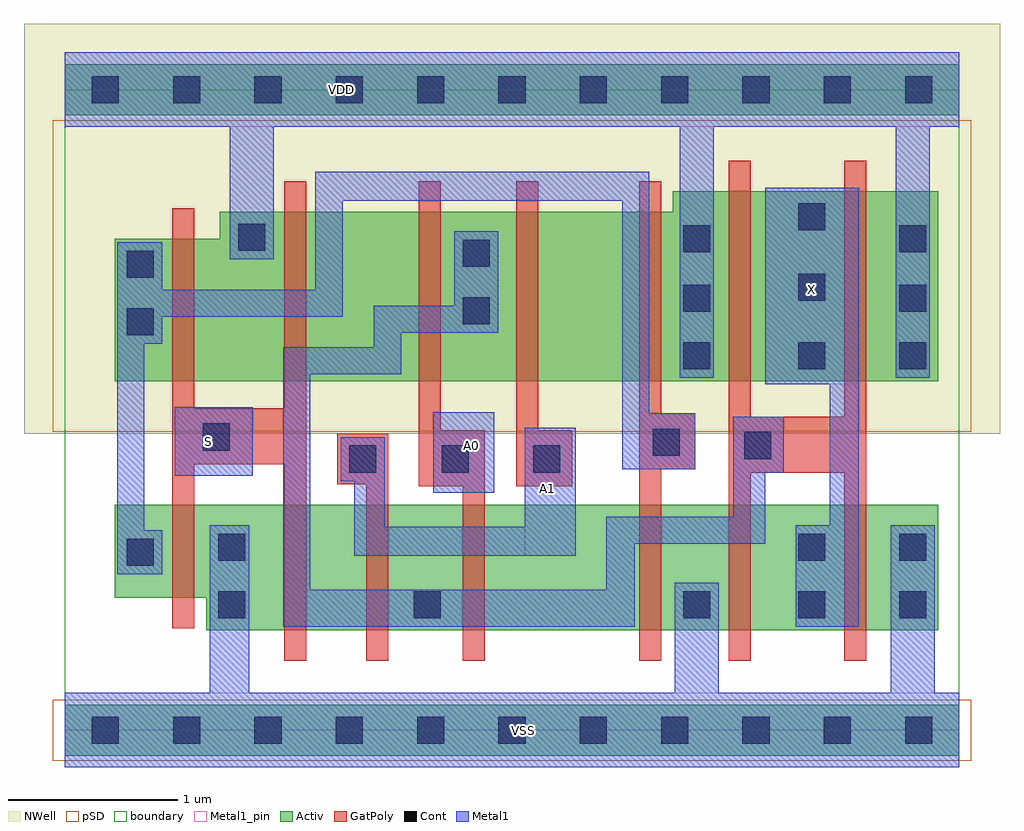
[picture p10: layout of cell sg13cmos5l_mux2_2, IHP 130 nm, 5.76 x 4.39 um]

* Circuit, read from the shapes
.subckt sg13cmos5l_mux2_2 A0 A1 S VDD VSS X
XM1 VSS S n1 VSS sg13_lv_nmos w=0.55u l=0.13u
XM2 n2 S VSS VSS sg13_lv_nmos w=0.74u l=0.13u
XM3 n3 A1 n2 VSS sg13_lv_nmos w=0.74u l=0.13u
XM4 n4 A0 n3 VSS sg13_lv_nmos w=0.74u l=0.13u
XM5 VSS n1 n4 VSS sg13_lv_nmos w=0.74u l=0.13u
XM6 X n3 VSS VSS sg13_lv_nmos w=0.74u l=0.13u m=2
XM7 VDD S n1 VDD sg13_lv_pmos w=0.84u l=0.13u
XM8 n5 S VDD VDD sg13_lv_pmos w=1u l=0.13u
XM9 n3 A0 n5 VDD sg13_lv_pmos w=1u l=0.13u
XM10 n6 A1 n3 VDD sg13_lv_pmos w=1u l=0.13u
XM11 VDD n1 n6 VDD sg13_lv_pmos w=1u l=0.13u
XM12 X n3 VDD VDD sg13_lv_pmos w=1.12u l=0.13u m=2
.ends

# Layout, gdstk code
import gdstk
lib = gdstk.Library(unit=1e-6, precision=1e-09)
def R(c, l, rs):  # rectangles x0, y0, x1, y1
    for r in rs: c.add(gdstk.rectangle(r[:2], r[2:], *l))
def P(c, l, *ps):  # polygons
    for p in ps: c.add(gdstk.Polygon(p, *l))
Activ = (1, 0)
GatPoly = (5, 0)
Cont = (6, 0)
Metal1 = (8, 0)
Metal1_pin = (8, 2)
pSD = (14, 0)
NWell = (31, 0)
boundary = (189, 4)

sg13cmos5l_mux2_2 = lib.new_cell('sg13cmos5l_mux2_2')
R(sg13cmos5l_mux2_2, Activ, [(0,-0.15,5.28,0.15), (0,3.63,5.28,3.93)])
P(sg13cmos5l_mux2_2, Activ, [(0.295,2.06),(0.295,2.9),(0.915,2.9),(0.915,3.06),(3.59,3.06),(3.59,3.18),(5.155,3.18),(5.155,2.06)],
  [(0.835,0.59),(0.835,0.78),(0.295,0.78),(0.295,1.33),(5.155,1.33),(5.155,0.59)])
R(sg13cmos5l_mux2_2, GatPoly, [(4.6,0.41,4.73,3.36), (4.05,1.52,4.73,1.85)])
P(sg13cmos5l_mux2_2, GatPoly, [(1.295,0.41),(1.295,1.57),(0.765,1.57),(0.765,0.6),(0.635,0.6),(0.635,3.08),(0.765,3.08),(0.765,1.9),(1.295,1.9),(1.295,3.24),(1.425,3.24),(1.425,0.41)],
  [(3.92,0.41),(3.92,3.36),(4.05,3.36),(4.05,1.85),(4.25,1.85),(4.25,1.52),(4.05,1.52),(4.05,0.41)],
  [(3.39,0.41),(3.39,3.24),(3.52,3.24),(3.52,1.87),(3.72,1.87),(3.72,1.54),(3.52,1.54),(3.52,0.41)],
  [(2.665,1.44),(2.665,3.24),(2.795,3.24),(2.795,1.77),(2.995,1.77),(2.995,1.44)],
  [(2.35,0.41),(2.35,1.44),(2.09,1.44),(2.09,3.24),(2.22,3.24),(2.22,1.77),(2.48,1.77),(2.48,0.41)],
  [(1.78,0.41),(1.78,1.45),(1.61,1.45),(1.61,1.75),(1.91,1.75),(1.91,0.41)])
R(sg13cmos5l_mux2_2, Cont, [(0.16,-0.08,0.32,0.08), (0.16,-0.08,0.32,0.08), (0.64,-0.08,0.8,0.08), (0.64,-0.08,0.8,0.08), (1.12,-0.08,1.28,0.08), (1.12,-0.08,1.28,0.08), (1.6,-0.08,1.76,0.08), (1.6,-0.08,1.76,0.08), (2.08,-0.08,2.24,0.08), (2.08,-0.08,2.24,0.08), (2.56,-0.08,2.72,0.08), (2.56,-0.08,2.72,0.08), (3.04,-0.08,3.2,0.08), (3.04,-0.08,3.2,0.08), (3.52,-0.08,3.68,0.08), (3.52,-0.08,3.68,0.08), (4,-0.08,4.16,0.08), (4,-0.08,4.16,0.08), (4.48,-0.08,4.64,0.08), (4.48,-0.08,4.64,0.08), (4.96,-0.08,5.12,0.08), (0.905,0.66,1.065,0.82), (2.06,0.66,2.22,0.82), (3.65,0.66,3.81,0.82), (4.33,0.66,4.49,0.82), (4.925,0.66,5.085,0.82), (0.365,0.97,0.525,1.13), (0.905,1,1.065,1.16), (4.33,1,4.49,1.16), (4.925,1,5.085,1.16), (1.68,1.52,1.84,1.68), (2.225,1.52,2.385,1.68), (2.765,1.52,2.925,1.68), (4.01,1.6,4.17,1.76), (3.47,1.62,3.63,1.78), (0.815,1.65,0.975,1.81), (3.65,2.13,3.81,2.29), (4.33,2.13,4.49,2.29), (4.925,2.13,5.085,2.29), (0.365,2.33,0.525,2.49), (2.35,2.395,2.51,2.555), (3.65,2.47,3.81,2.63), (4.925,2.47,5.085,2.63), (4.33,2.535,4.49,2.695), (0.365,2.67,0.525,2.83), (2.35,2.735,2.51,2.895), (3.65,2.82,3.81,2.98), (4.925,2.82,5.085,2.98), (1.025,2.83,1.185,2.99), (4.33,2.95,4.49,3.11), (0.16,3.7,0.32,3.86), (0.16,3.7,0.32,3.86), (0.64,3.7,0.8,3.86), (0.64,3.7,0.8,3.86), (1.12,3.7,1.28,3.86), (1.12,3.7,1.28,3.86), (1.6,3.7,1.76,3.86), (1.6,3.7,1.76,3.86), (2.08,3.7,2.24,3.86), (2.08,3.7,2.24,3.86), (2.56,3.7,2.72,3.86), (2.56,3.7,2.72,3.86), (3.04,3.7,3.2,3.86), (3.04,3.7,3.2,3.86), (3.52,3.7,3.68,3.86), (3.52,3.7,3.68,3.86), (4,3.7,4.16,3.86), (4,3.7,4.16,3.86), (4.48,3.7,4.64,3.86), (4.48,3.7,4.64,3.86), (4.96,3.7,5.12,3.86)])
R(sg13cmos5l_mux2_2, Metal1, [(2.175,1.4,2.535,1.875), (0.65,1.5,1.11,1.905)])
P(sg13cmos5l_mux2_2, Metal1, [(0,-0.22),(0,0.22),(0.855,0.22),(0.855,1.21),(1.09,1.21),(1.09,0.22),(3.6,0.22),(3.6,0.87),(3.86,0.87),(3.86,0.22),(4.875,0.22),(4.875,1.21),(5.135,1.21),(5.135,0.22),(5.28,0.22),(5.28,-0.22)],
  [(3.63,2.08),(3.63,3.56),(1.235,3.56),(1.235,2.78),(0.975,2.78),(0.975,3.56),(0,3.56),(0,4),(5.28,4),(5.28,3.56),(5.105,3.56),(5.105,2.08),(4.905,2.08),(4.905,3.56),(3.83,3.56),(3.83,2.08)],
  [(4.315,0.61),(4.315,1.21),(4.515,1.21),(4.515,2.04),(4.135,2.04),(4.135,3.2),(4.685,3.2),(4.685,0.61)],
  [(0.31,0.92),(0.31,2.88),(0.575,2.88),(0.575,2.6),(1.48,2.6),(1.48,3.295),(3.45,3.295),(3.45,1.87),(3.72,1.87),(3.72,1.54),(3.29,1.54),(3.29,3.125),(1.64,3.125),(1.64,2.44),(0.575,2.44),(0.575,2.28),(0.47,2.28),(0.47,1.18),(0.575,1.18),(0.575,0.92)],
  [(1.71,1.03),(1.71,1.47),(1.63,1.47),(1.63,1.73),(1.89,1.73),(1.89,1.2),(2.715,1.2),(2.715,1.785),(3.015,1.785),(3.015,1.03)],
  [(1.29,0.61),(1.29,2.26),(1.825,2.26),(1.825,2.505),(2.3,2.505),(2.3,2.945),(2.56,2.945),(2.56,2.345),(1.985,2.345),(1.985,2.1),(1.45,2.1),(1.45,0.83),(3.195,0.83),(3.195,1.26),(3.945,1.26),(3.945,1.85),(4.245,1.85),(4.245,1.52),(4.135,1.52),(4.135,1.1),(3.365,1.1),(3.365,0.61)])
R(sg13cmos5l_mux2_2, Metal1_pin, [(0,-0.22,5.28,0.22), (2.715,1.03,3.015,1.785), (2.175,1.4,2.535,1.875), (0.65,1.5,1.11,1.905), (4.135,2.04,4.685,3.2), (0,3.56,5.28,4)])
R(sg13cmos5l_mux2_2, pSD, [(-0.07,-0.18,5.35,0.18), (-0.07,1.76,5.35,3.6)])
R(sg13cmos5l_mux2_2, NWell, [(-0.24,1.75,5.52,4.17)])
R(sg13cmos5l_mux2_2, boundary, [(0,0,5.28,3.78)])
sg13cmos5l_mux2_2.add(gdstk.Label('A1', (2.85,1.425), layer=8, texttype=25))
sg13cmos5l_mux2_2.add(gdstk.Label('X', (4.405,2.6), layer=8, texttype=25))
sg13cmos5l_mux2_2.add(gdstk.Label('S', (0.85,1.705), layer=8, texttype=25))
sg13cmos5l_mux2_2.add(gdstk.Label('VDD', (1.635,3.78), layer=8, texttype=25))
sg13cmos5l_mux2_2.add(gdstk.Label('VSS', (2.71,0), layer=8, texttype=25))
sg13cmos5l_mux2_2.add(gdstk.Label('A0', (2.4,1.68), layer=8, texttype=25))

lib.write_gds('sg13cmos5l_mux2_2.gds')
